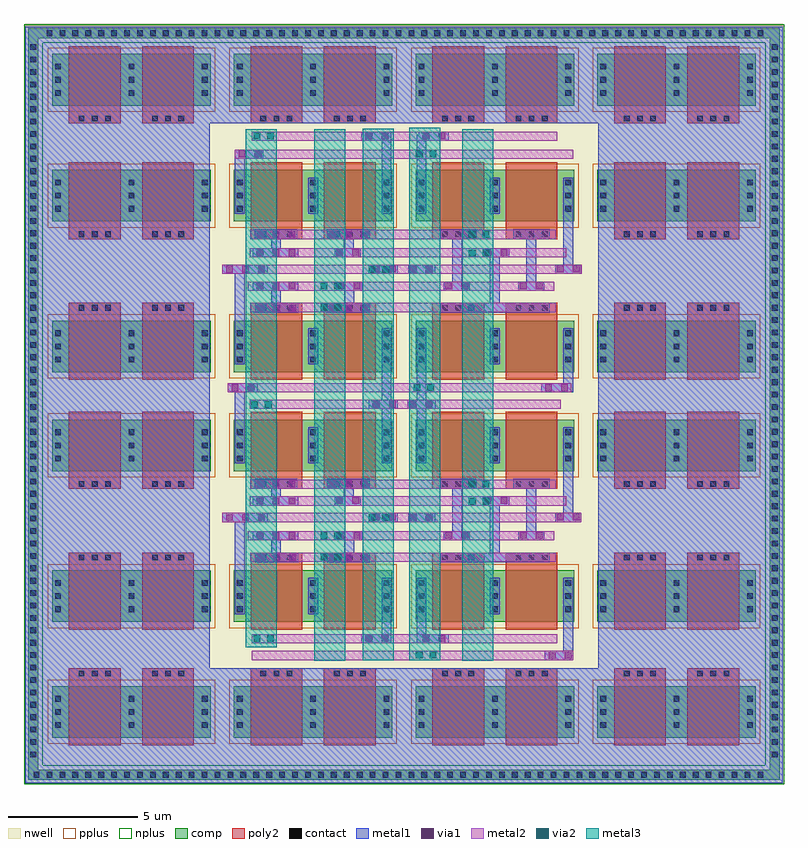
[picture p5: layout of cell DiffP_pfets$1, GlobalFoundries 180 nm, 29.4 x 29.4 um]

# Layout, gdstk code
import gdstk
lib = gdstk.Library(unit=1e-6, precision=1e-09)
def R(c, l, rs):  # rectangles x0, y0, x1, y1
    for r in rs: c.add(gdstk.rectangle(r[:2], r[2:], *l))
def A(c, l, x, y, w, h, nx, ny, dx, dy):  # array of equal rectangles
    R(c, l, [(x+i*dx, y+j*dy, x+i*dx+w, y+j*dy+h) for i in range(nx) for j in range(ny)])
nwell = (21, 0)
comp = (22, 0)
poly2 = (30, 0)
pplus = (31, 0)
nplus = (32, 0)
contact = (33, 0)
metal1 = (34, 0)
via1 = (35, 0)
metal2 = (36, 0)
via2 = (38, 0)
metal3 = (42, 0)

pfet_1 = lib.new_cell('pfet$1')
R(pfet_1, nwell, [(-0.9,-0.44,3.28,2.44)])
R(pfet_1, comp, [(-0.46,0,0,2), (0,0,2.38,2), (2.38,0,2.84,2)])
R(pfet_1, poly2, [(0.19,-0.3,2.19,2.3), (0.19,2.3,2.19,2.68)])
R(pfet_1, pplus, [(-0.63,-0.24,3.01,2.24)])
A(pfet_1, contact, -0.34, 0.38, 0.22, 0.22, 1, 3, 0, 0.51)
A(pfet_1, contact, 2.5, 0.38, 0.22, 0.22, 1, 3, 0, 0.51)
A(pfet_1, contact, 0.57, 2.38, 0.22, 0.22, 3, 1, 0.51, 0)
R(pfet_1, metal1, [(-0.42,0.3,-0.04,1.7), (2.42,0.3,2.8,1.7), (0.49,2.3,1.89,2.68)])

diffp_pfets_1 = lib.new_cell('DiffP_pfets$1')
R(diffp_pfets_1, nwell, [(-8.535,-6.23,20.775,23.085)])
R(diffp_pfets_1, comp, [(-8.415,-6.1,20.645,-5.72), (20.265,-5.8,20.645,22.96), (-8.415,-5.735,-8.035,22.96), (-8.295,22.58,20.395,22.96)])
R(diffp_pfets_1, nplus, [(-8.585,-6.27,20.815,-5.55), (-8.585,-5.645,-7.865,23.13), (20.095,-5.645,20.815,23.13), (-8.465,22.41,20.565,23.13)])
A(diffp_pfets_1, contact, -8.21, -6.02, 0.22, 0.22, 57, 1, 0.5, 0)
A(diffp_pfets_1, contact, -8.335, -5.235, 0.22, 0.22, 1, 58, 0, 0.48)
A(diffp_pfets_1, contact, 20.345, -5.235, 0.22, 0.22, 1, 58, 0, 0.48)
A(diffp_pfets_1, contact, -7.71, 22.66, 0.22, 0.22, 56, 1, 0.5, 0)
R(diffp_pfets_1, metal1, [(-8.53,-6.235,-1.4,23.03), (-1.44,-6.235,20.76,-1.8), (13.63,-6.235,20.76,23.03), (11.565,-1.475,12.66,-1.12), (12.28,-1.335,12.66,0.81), (4.47,-0.825,5.63,-0.47), (6.6,-0.825,6.98,0.935), (6.68,-0.825,7.85,-0.47), (5.25,-0.81,5.63,1.335), (-0.43,1.69,-0.05,4.015), (0.37,2.3,2.02,2.68), (0.97,2.3,1.35,3.395), (3.145,2.3,4.795,2.68), (3.805,2.3,4.185,3.505), (8.805,2.3,10.715,2.68), (9.44,2.335,9.82,4.6), (0.255,3.15,2.02,3.505), (3.485,3.15,4.495,3.505), (3.485,3.15,4.495,3.505), (3.485,3.15,4.495,3.505), (7.655,3.15,8.665,3.505), (7.655,3.15,8.665,3.505), (7.655,3.15,8.665,3.505), (10.54,3.15,11.55,3.505), (10.54,3.15,11.55,3.505), (10.54,3.15,11.55,3.505), (7.985,3.365,8.365,5.505), (10.845,3.45,11.225,5.51), (-0.925,3.86,0.84,4.215), (4.86,3.86,5.87,4.215), (4.86,3.86,5.87,4.215), (4.86,3.86,5.87,4.215), (6.27,3.86,7.33,4.215), (11.97,3.86,12.98,4.215), (11.97,3.86,12.98,4.215), (11.97,3.86,12.98,4.215), (12.28,4.08,12.66,6.405), (0.255,4.5,2.02,4.855), (3.435,4.5,4.445,4.855), (3.435,4.5,4.445,4.855), (3.435,4.5,4.445,4.855), (9.17,4.5,10.18,4.855), (9.17,4.5,10.18,4.855), (9.17,4.5,10.18,4.855), (0.97,4.52,1.35,5.5), (3.79,4.565,4.17,5.5), (0.34,5.15,1.99,5.53), (3.145,5.15,4.795,5.53), (-0.43,7.51,-0.05,9.165), (5.25,7.525,5.63,8.56), (6.6,7.525,6.98,10.05), (4.76,8.24,5.875,8.595), (6.26,8.24,7.345,8.595), (5.25,8.535,5.63,10.08), (-0.705,8.88,0.465,9.235), (11.415,8.88,12.585,9.235), (12.28,8.88,12.66,10.085), (-0.43,11.35,-0.05,13.675), (0.37,11.96,2.02,12.34), (0.97,11.96,1.35,13.055), (3.145,11.96,4.795,12.34), (3.805,11.96,4.185,13.165), (8.805,11.96,10.715,12.34), (9.44,11.995,9.82,14.135), (0.255,12.81,2.02,13.165), (3.485,12.81,4.495,13.165), (3.485,12.81,4.495,13.165), (3.485,12.81,4.495,13.165), (7.655,12.81,8.665,13.165), (7.655,12.81,8.665,13.165), (7.655,12.81,8.665,13.165), (10.54,12.81,11.55,13.165), (10.54,12.81,11.55,13.165), (10.54,12.81,11.55,13.165), (7.985,13.025,8.365,15.165), (10.845,13.11,11.225,15.17), (-0.925,13.46,0.84,13.815), (4.86,13.46,5.87,13.815), (4.86,13.46,5.87,13.815), (4.86,13.46,5.87,13.815), (6.27,13.46,7.33,13.815), (11.97,13.46,12.98,13.815), (11.97,13.46,12.98,13.815), (11.97,13.46,12.98,13.815), (12.28,13.66,12.66,15.985), (0.255,14.105,2.02,14.46), (3.435,14.105,4.445,14.46), (3.435,14.105,4.445,14.46), (3.435,14.105,4.445,14.46), (9.17,14.105,10.18,14.46), (9.17,14.105,10.18,14.46), (9.17,14.105,10.18,14.46), (0.97,14.125,1.35,15.16), (3.79,14.2,4.17,15.16), (0.34,14.81,1.99,15.19), (3.145,14.81,4.795,15.19), (6.6,16.84,6.98,18.85), (5.25,16.855,5.63,18.85), (-0.43,17.085,-0.05,18.215), (-0.43,17.92,0.665,18.275), (4.47,18.615,5.63,18.97), (6.68,18.615,7.85,18.97), (-1.44,19.29,20.76,23.03)])
R(diffp_pfets_1, via1, [(11.72,-1.425,11.98,-1.165), (11.72,-1.425,11.98,-1.165), (11.72,-1.425,11.98,-1.165), (11.72,-1.425,11.98,-1.165), (11.72,-1.425,11.98,-1.165), (11.72,-1.425,11.98,-1.165), (11.72,-1.425,11.98,-1.165), (11.72,-1.425,11.98,-1.165), (12.34,-1.425,12.6,-1.165), (12.34,-1.425,12.6,-1.165), (12.34,-1.425,12.6,-1.165), (12.34,-1.425,12.6,-1.165), (12.34,-1.425,12.6,-1.165), (12.34,-1.425,12.6,-1.165), (12.34,-1.425,12.6,-1.165), (12.34,-1.425,12.6,-1.165), (4.625,-0.775,4.885,-0.515), (4.625,-0.775,4.885,-0.515), (4.625,-0.775,4.885,-0.515), (4.625,-0.775,4.885,-0.515), (4.625,-0.775,4.885,-0.515), (4.625,-0.775,4.885,-0.515), (4.625,-0.775,4.885,-0.515), (4.625,-0.775,4.885,-0.515), (5.245,-0.775,5.505,-0.515), (5.245,-0.775,5.505,-0.515), (5.245,-0.775,5.505,-0.515), (5.245,-0.775,5.505,-0.515), (5.245,-0.775,5.505,-0.515), (5.245,-0.775,5.505,-0.515), (5.245,-0.775,5.505,-0.515), (5.245,-0.775,5.505,-0.515), (6.835,-0.775,7.095,-0.515), (6.835,-0.775,7.095,-0.515), (6.835,-0.775,7.095,-0.515), (6.835,-0.775,7.095,-0.515), (6.835,-0.775,7.095,-0.515), (6.835,-0.775,7.095,-0.515), (6.835,-0.775,7.095,-0.515), (6.835,-0.775,7.095,-0.515), (7.455,-0.775,7.715,-0.515), (7.455,-0.775,7.715,-0.515), (7.455,-0.775,7.715,-0.515), (7.455,-0.775,7.715,-0.515), (7.455,-0.775,7.715,-0.515), (7.455,-0.775,7.715,-0.515), (7.455,-0.775,7.715,-0.515), (7.455,-0.775,7.715,-0.515), (0.44,2.35,0.7,2.61), (0.44,2.35,0.7,2.61), (0.44,2.35,0.7,2.61), (0.44,2.35,0.7,2.61), (0.44,2.35,0.7,2.61), (0.44,2.35,0.7,2.61), (0.44,2.35,0.7,2.61), (0.44,2.35,0.7,2.61), (1.06,2.35,1.32,2.61), (1.06,2.35,1.32,2.61), (1.06,2.35,1.32,2.61), (1.06,2.35,1.32,2.61), (1.06,2.35,1.32,2.61), (1.06,2.35,1.32,2.61), (1.06,2.35,1.32,2.61), (1.06,2.35,1.32,2.61), (1.68,2.35,1.94,2.61), (1.68,2.35,1.94,2.61), (1.68,2.35,1.94,2.61), (1.68,2.35,1.94,2.61), (1.68,2.35,1.94,2.61), (1.68,2.35,1.94,2.61), (1.68,2.35,1.94,2.61), (1.68,2.35,1.94,2.61), (3.215,2.35,3.475,2.61), (3.215,2.35,3.475,2.61), (3.215,2.35,3.475,2.61), (3.215,2.35,3.475,2.61), (3.215,2.35,3.475,2.61), (3.215,2.35,3.475,2.61), (3.215,2.35,3.475,2.61), (3.215,2.35,3.475,2.61), (3.835,2.35,4.095,2.61), (3.835,2.35,4.095,2.61), (3.835,2.35,4.095,2.61), (3.835,2.35,4.095,2.61), (3.835,2.35,4.095,2.61), (3.835,2.35,4.095,2.61), (3.835,2.35,4.095,2.61), (3.835,2.35,4.095,2.61), (4.455,2.35,4.715,2.61), (4.455,2.35,4.715,2.61), (4.455,2.35,4.715,2.61), (4.455,2.35,4.715,2.61), (4.455,2.35,4.715,2.61), (4.455,2.35,4.715,2.61), (4.455,2.35,4.715,2.61), (4.455,2.35,4.715,2.61), (0.41,3.2,0.67,3.46), (0.41,3.2,0.67,3.46), (0.41,3.2,0.67,3.46), (0.41,3.2,0.67,3.46), (0.41,3.2,0.67,3.46), (0.41,3.2,0.67,3.46), (0.41,3.2,0.67,3.46), (0.41,3.2,0.67,3.46), (1.03,3.2,1.29,3.46), (1.03,3.2,1.29,3.46), (1.03,3.2,1.29,3.46), (1.03,3.2,1.29,3.46), (1.03,3.2,1.29,3.46), (1.03,3.2,1.29,3.46), (1.03,3.2,1.29,3.46), (1.03,3.2,1.29,3.46), (1.65,3.2,1.91,3.46), (1.65,3.2,1.91,3.46), (1.65,3.2,1.91,3.46), (1.65,3.2,1.91,3.46), (1.65,3.2,1.91,3.46), (1.65,3.2,1.91,3.46), (1.65,3.2,1.91,3.46), (1.65,3.2,1.91,3.46), (3.545,3.215,3.805,3.475), (4.165,3.215,4.425,3.475), (7.715,3.215,7.975,3.475), (8.335,3.215,8.595,3.475), (10.6,3.215,10.86,3.475), (11.22,3.215,11.48,3.475), (-0.77,3.91,-0.51,4.17), (-0.77,3.91,-0.51,4.17), (-0.77,3.91,-0.51,4.17), (-0.77,3.91,-0.51,4.17), (-0.77,3.91,-0.51,4.17), (-0.77,3.91,-0.51,4.17), (-0.77,3.91,-0.51,4.17), (-0.77,3.91,-0.51,4.17), (-0.15,3.91,0.11,4.17), (-0.15,3.91,0.11,4.17), (-0.15,3.91,0.11,4.17), (-0.15,3.91,0.11,4.17), (-0.15,3.91,0.11,4.17), (-0.15,3.91,0.11,4.17), (-0.15,3.91,0.11,4.17), (-0.15,3.91,0.11,4.17), (0.47,3.91,0.73,4.17), (0.47,3.91,0.73,4.17), (0.47,3.91,0.73,4.17), (0.47,3.91,0.73,4.17), (0.47,3.91,0.73,4.17), (0.47,3.91,0.73,4.17), (0.47,3.91,0.73,4.17), (0.47,3.91,0.73,4.17), (6.34,3.91,6.6,4.17), (6.34,3.91,6.6,4.17), (6.34,3.91,6.6,4.17), (6.34,3.91,6.6,4.17), (6.34,3.91,6.6,4.17), (6.34,3.91,6.6,4.17), (6.34,3.91,6.6,4.17), (6.34,3.91,6.6,4.17), (6.96,3.91,7.22,4.17), (6.96,3.91,7.22,4.17), (6.96,3.91,7.22,4.17), (6.96,3.91,7.22,4.17), (6.96,3.91,7.22,4.17), (6.96,3.91,7.22,4.17), (6.96,3.91,7.22,4.17), (6.96,3.91,7.22,4.17), (4.92,3.925,5.18,4.185), (4.92,3.925,5.18,4.185), (5.54,3.925,5.8,4.185), (5.54,3.925,5.8,4.185), (12.03,3.925,12.29,4.185), (12.03,3.925,12.29,4.185), (12.65,3.925,12.91,4.185), (12.65,3.925,12.91,4.185), (0.41,4.55,0.67,4.81), (0.41,4.55,0.67,4.81), (0.41,4.55,0.67,4.81), (0.41,4.55,0.67,4.81), (0.41,4.55,0.67,4.81), (0.41,4.55,0.67,4.81), (0.41,4.55,0.67,4.81), (0.41,4.55,0.67,4.81), (1.03,4.55,1.29,4.81), (1.03,4.55,1.29,4.81), (1.03,4.55,1.29,4.81), (1.03,4.55,1.29,4.81), (1.03,4.55,1.29,4.81), (1.03,4.55,1.29,4.81), (1.03,4.55,1.29,4.81), (1.03,4.55,1.29,4.81), (1.65,4.55,1.91,4.81), (1.65,4.55,1.91,4.81), (1.65,4.55,1.91,4.81), (1.65,4.55,1.91,4.81), (1.65,4.55,1.91,4.81), (1.65,4.55,1.91,4.81), (1.65,4.55,1.91,4.81), (1.65,4.55,1.91,4.81), (3.495,4.565,3.755,4.825), (4.115,4.565,4.375,4.825), (9.23,4.565,9.49,4.825), (9.85,4.565,10.11,4.825), (0.41,5.2,0.67,5.46), (0.41,5.2,0.67,5.46), (0.41,5.2,0.67,5.46), (0.41,5.2,0.67,5.46), (0.41,5.2,0.67,5.46), (0.41,5.2,0.67,5.46), (0.41,5.2,0.67,5.46), (0.41,5.2,0.67,5.46), (1.03,5.2,1.29,5.46), (1.03,5.2,1.29,5.46), (1.03,5.2,1.29,5.46), (1.03,5.2,1.29,5.46), (1.03,5.2,1.29,5.46), (1.03,5.2,1.29,5.46), (1.03,5.2,1.29,5.46), (1.03,5.2,1.29,5.46), (1.65,5.2,1.91,5.46), (1.65,5.2,1.91,5.46), (1.65,5.2,1.91,5.46), (1.65,5.2,1.91,5.46), (1.65,5.2,1.91,5.46), (1.65,5.2,1.91,5.46), (1.65,5.2,1.91,5.46), (1.65,5.2,1.91,5.46), (3.215,5.2,3.475,5.46), (3.215,5.2,3.475,5.46), (3.215,5.2,3.475,5.46), (3.215,5.2,3.475,5.46), (3.215,5.2,3.475,5.46), (3.215,5.2,3.475,5.46), (3.215,5.2,3.475,5.46), (3.215,5.2,3.475,5.46), (3.835,5.2,4.095,5.46), (3.835,5.2,4.095,5.46), (3.835,5.2,4.095,5.46), (3.835,5.2,4.095,5.46), (3.835,5.2,4.095,5.46), (3.835,5.2,4.095,5.46), (3.835,5.2,4.095,5.46), (3.835,5.2,4.095,5.46), (4.455,5.2,4.715,5.46), (4.455,5.2,4.715,5.46), (4.455,5.2,4.715,5.46), (4.455,5.2,4.715,5.46), (4.455,5.2,4.715,5.46), (4.455,5.2,4.715,5.46), (4.455,5.2,4.715,5.46), (4.455,5.2,4.715,5.46), (4.915,8.29,5.175,8.55), (4.915,8.29,5.175,8.55), (4.915,8.29,5.175,8.55), (4.915,8.29,5.175,8.55), (4.915,8.29,5.175,8.55), (4.915,8.29,5.175,8.55), (4.915,8.29,5.175,8.55), (4.915,8.29,5.175,8.55), (5.535,8.29,5.795,8.55), (5.535,8.29,5.795,8.55), (5.535,8.29,5.795,8.55), (5.535,8.29,5.795,8.55), (5.535,8.29,5.795,8.55), (5.535,8.29,5.795,8.55), (5.535,8.29,5.795,8.55), (5.535,8.29,5.795,8.55), (6.33,8.29,6.59,8.55), (6.33,8.29,6.59,8.55), (6.33,8.29,6.59,8.55), (6.33,8.29,6.59,8.55), (6.33,8.29,6.59,8.55), (6.33,8.29,6.59,8.55), (6.33,8.29,6.59,8.55), (6.33,8.29,6.59,8.55), (6.95,8.29,7.21,8.55), (6.95,8.29,7.21,8.55), (6.95,8.29,7.21,8.55), (6.95,8.29,7.21,8.55), (6.95,8.29,7.21,8.55), (6.95,8.29,7.21,8.55), (6.95,8.29,7.21,8.55), (6.95,8.29,7.21,8.55), (-0.55,8.93,-0.29,9.19), (-0.55,8.93,-0.29,9.19), (-0.55,8.93,-0.29,9.19), (-0.55,8.93,-0.29,9.19), (-0.55,8.93,-0.29,9.19), (-0.55,8.93,-0.29,9.19), (-0.55,8.93,-0.29,9.19), (-0.55,8.93,-0.29,9.19), (0.07,8.93,0.33,9.19), (0.07,8.93,0.33,9.19), (0.07,8.93,0.33,9.19), (0.07,8.93,0.33,9.19), (0.07,8.93,0.33,9.19), (0.07,8.93,0.33,9.19), (0.07,8.93,0.33,9.19), (0.07,8.93,0.33,9.19), (11.57,8.93,11.83,9.19), (11.57,8.93,11.83,9.19), (11.57,8.93,11.83,9.19), (11.57,8.93,11.83,9.19), (11.57,8.93,11.83,9.19), (11.57,8.93,11.83,9.19), (11.57,8.93,11.83,9.19), (11.57,8.93,11.83,9.19), (12.19,8.93,12.45,9.19), (12.19,8.93,12.45,9.19), (12.19,8.93,12.45,9.19), (12.19,8.93,12.45,9.19), (12.19,8.93,12.45,9.19), (12.19,8.93,12.45,9.19), (12.19,8.93,12.45,9.19), (12.19,8.93,12.45,9.19), (0.44,12.01,0.7,12.27), (0.44,12.01,0.7,12.27), (0.44,12.01,0.7,12.27), (0.44,12.01,0.7,12.27), (0.44,12.01,0.7,12.27), (0.44,12.01,0.7,12.27), (0.44,12.01,0.7,12.27), (0.44,12.01,0.7,12.27), (1.06,12.01,1.32,12.27), (1.06,12.01,1.32,12.27), (1.06,12.01,1.32,12.27), (1.06,12.01,1.32,12.27), (1.06,12.01,1.32,12.27), (1.06,12.01,1.32,12.27), (1.06,12.01,1.32,12.27), (1.06,12.01,1.32,12.27), (1.68,12.01,1.94,12.27), (1.68,12.01,1.94,12.27), (1.68,12.01,1.94,12.27), (1.68,12.01,1.94,12.27), (1.68,12.01,1.94,12.27), (1.68,12.01,1.94,12.27), (1.68,12.01,1.94,12.27), (1.68,12.01,1.94,12.27), (3.215,12.01,3.475,12.27), (3.215,12.01,3.475,12.27), (3.215,12.01,3.475,12.27), (3.215,12.01,3.475,12.27), (3.215,12.01,3.475,12.27), (3.215,12.01,3.475,12.27), (3.215,12.01,3.475,12.27), (3.215,12.01,3.475,12.27), (3.835,12.01,4.095,12.27), (3.835,12.01,4.095,12.27), (3.835,12.01,4.095,12.27), (3.835,12.01,4.095,12.27), (3.835,12.01,4.095,12.27), (3.835,12.01,4.095,12.27), (3.835,12.01,4.095,12.27), (3.835,12.01,4.095,12.27), (4.455,12.01,4.715,12.27), (4.455,12.01,4.715,12.27), (4.455,12.01,4.715,12.27), (4.455,12.01,4.715,12.27), (4.455,12.01,4.715,12.27), (4.455,12.01,4.715,12.27), (4.455,12.01,4.715,12.27), (4.455,12.01,4.715,12.27), (0.41,12.86,0.67,13.12), (0.41,12.86,0.67,13.12), (0.41,12.86,0.67,13.12), (0.41,12.86,0.67,13.12), (0.41,12.86,0.67,13.12), (0.41,12.86,0.67,13.12), (0.41,12.86,0.67,13.12), (0.41,12.86,0.67,13.12), (1.03,12.86,1.29,13.12), (1.03,12.86,1.29,13.12), (1.03,12.86,1.29,13.12), (1.03,12.86,1.29,13.12), (1.03,12.86,1.29,13.12), (1.03,12.86,1.29,13.12), (1.03,12.86,1.29,13.12), (1.03,12.86,1.29,13.12), (1.65,12.86,1.91,13.12), (1.65,12.86,1.91,13.12), (1.65,12.86,1.91,13.12), (1.65,12.86,1.91,13.12), (1.65,12.86,1.91,13.12), (1.65,12.86,1.91,13.12), (1.65,12.86,1.91,13.12), (1.65,12.86,1.91,13.12), (3.545,12.875,3.805,13.135), (4.165,12.875,4.425,13.135), (7.715,12.875,7.975,13.135), (8.335,12.875,8.595,13.135), (10.6,12.875,10.86,13.135), (11.22,12.875,11.48,13.135), (-0.77,13.51,-0.51,13.77), (-0.77,13.51,-0.51,13.77), (-0.77,13.51,-0.51,13.77), (-0.77,13.51,-0.51,13.77), (-0.77,13.51,-0.51,13.77), (-0.77,13.51,-0.51,13.77), (-0.77,13.51,-0.51,13.77), (-0.77,13.51,-0.51,13.77), (-0.15,13.51,0.11,13.77), (-0.15,13.51,0.11,13.77), (-0.15,13.51,0.11,13.77), (-0.15,13.51,0.11,13.77), (-0.15,13.51,0.11,13.77), (-0.15,13.51,0.11,13.77), (-0.15,13.51,0.11,13.77), (-0.15,13.51,0.11,13.77), (0.47,13.51,0.73,13.77), (0.47,13.51,0.73,13.77), (0.47,13.51,0.73,13.77), (0.47,13.51,0.73,13.77), (0.47,13.51,0.73,13.77), (0.47,13.51,0.73,13.77), (0.47,13.51,0.73,13.77), (0.47,13.51,0.73,13.77), (6.34,13.51,6.6,13.77), (6.34,13.51,6.6,13.77), (6.34,13.51,6.6,13.77), (6.34,13.51,6.6,13.77), (6.34,13.51,6.6,13.77), (6.34,13.51,6.6,13.77), (6.34,13.51,6.6,13.77), (6.34,13.51,6.6,13.77), (6.96,13.51,7.22,13.77), (6.96,13.51,7.22,13.77), (6.96,13.51,7.22,13.77), (6.96,13.51,7.22,13.77), (6.96,13.51,7.22,13.77), (6.96,13.51,7.22,13.77), (6.96,13.51,7.22,13.77), (6.96,13.51,7.22,13.77), (4.92,13.525,5.18,13.785), (4.92,13.525,5.18,13.785), (5.54,13.525,5.8,13.785), (5.54,13.525,5.8,13.785), (12.03,13.525,12.29,13.785), (12.03,13.525,12.29,13.785), (12.65,13.525,12.91,13.785), (12.65,13.525,12.91,13.785), (0.41,14.155,0.67,14.415), (0.41,14.155,0.67,14.415), (0.41,14.155,0.67,14.415), (0.41,14.155,0.67,14.415), (0.41,14.155,0.67,14.415), (0.41,14.155,0.67,14.415), (0.41,14.155,0.67,14.415), (0.41,14.155,0.67,14.415), (1.03,14.155,1.29,14.415), (1.03,14.155,1.29,14.415), (1.03,14.155,1.29,14.415), (1.03,14.155,1.29,14.415), (1.03,14.155,1.29,14.415), (1.03,14.155,1.29,14.415), (1.03,14.155,1.29,14.415), (1.03,14.155,1.29,14.415), (1.65,14.155,1.91,14.415), (1.65,14.155,1.91,14.415), (1.65,14.155,1.91,14.415), (1.65,14.155,1.91,14.415), (1.65,14.155,1.91,14.415), (1.65,14.155,1.91,14.415), (1.65,14.155,1.91,14.415), (1.65,14.155,1.91,14.415), (3.495,14.17,3.755,14.43), (4.115,14.17,4.375,14.43), (9.23,14.17,9.49,14.43), (9.85,14.17,10.11,14.43), (0.41,14.86,0.67,15.12), (0.41,14.86,0.67,15.12), (0.41,14.86,0.67,15.12), (0.41,14.86,0.67,15.12), (0.41,14.86,0.67,15.12), (0.41,14.86,0.67,15.12), (0.41,14.86,0.67,15.12), (0.41,14.86,0.67,15.12), (1.03,14.86,1.29,15.12), (1.03,14.86,1.29,15.12), (1.03,14.86,1.29,15.12), (1.03,14.86,1.29,15.12), (1.03,14.86,1.29,15.12), (1.03,14.86,1.29,15.12), (1.03,14.86,1.29,15.12), (1.03,14.86,1.29,15.12), (1.65,14.86,1.91,15.12), (1.65,14.86,1.91,15.12), (1.65,14.86,1.91,15.12), (1.65,14.86,1.91,15.12), (1.65,14.86,1.91,15.12), (1.65,14.86,1.91,15.12), (1.65,14.86,1.91,15.12), (1.65,14.86,1.91,15.12), (3.215,14.86,3.475,15.12), (3.215,14.86,3.475,15.12), (3.215,14.86,3.475,15.12), (3.215,14.86,3.475,15.12), (3.215,14.86,3.475,15.12), (3.215,14.86,3.475,15.12), (3.215,14.86,3.475,15.12), (3.215,14.86,3.475,15.12), (3.835,14.86,4.095,15.12), (3.835,14.86,4.095,15.12), (3.835,14.86,4.095,15.12), (3.835,14.86,4.095,15.12), (3.835,14.86,4.095,15.12), (3.835,14.86,4.095,15.12), (3.835,14.86,4.095,15.12), (3.835,14.86,4.095,15.12), (4.455,14.86,4.715,15.12), (4.455,14.86,4.715,15.12), (4.455,14.86,4.715,15.12), (4.455,14.86,4.715,15.12), (4.455,14.86,4.715,15.12), (4.455,14.86,4.715,15.12), (4.455,14.86,4.715,15.12), (4.455,14.86,4.715,15.12), (-0.275,17.97,-0.015,18.23), (-0.275,17.97,-0.015,18.23), (-0.275,17.97,-0.015,18.23), (-0.275,17.97,-0.015,18.23), (-0.275,17.97,-0.015,18.23), (-0.275,17.97,-0.015,18.23), (-0.275,17.97,-0.015,18.23), (-0.275,17.97,-0.015,18.23), (0.345,17.97,0.605,18.23), (0.345,17.97,0.605,18.23), (0.345,17.97,0.605,18.23), (0.345,17.97,0.605,18.23), (0.345,17.97,0.605,18.23), (0.345,17.97,0.605,18.23), (0.345,17.97,0.605,18.23), (0.345,17.97,0.605,18.23), (4.625,18.665,4.885,18.925), (4.625,18.665,4.885,18.925), (4.625,18.665,4.885,18.925), (4.625,18.665,4.885,18.925), (4.625,18.665,4.885,18.925), (4.625,18.665,4.885,18.925), (4.625,18.665,4.885,18.925), (4.625,18.665,4.885,18.925), (5.245,18.665,5.505,18.925), (5.245,18.665,5.505,18.925), (5.245,18.665,5.505,18.925), (5.245,18.665,5.505,18.925), (5.245,18.665,5.505,18.925), (5.245,18.665,5.505,18.925), (5.245,18.665,5.505,18.925), (5.245,18.665,5.505,18.925), (6.835,18.665,7.095,18.925), (6.835,18.665,7.095,18.925), (6.835,18.665,7.095,18.925), (6.835,18.665,7.095,18.925), (6.835,18.665,7.095,18.925), (6.835,18.665,7.095,18.925), (6.835,18.665,7.095,18.925), (6.835,18.665,7.095,18.925), (7.455,18.665,7.715,18.925), (7.455,18.665,7.715,18.925), (7.455,18.665,7.715,18.925), (7.455,18.665,7.715,18.925), (7.455,18.665,7.715,18.925), (7.455,18.665,7.715,18.925), (7.455,18.665,7.715,18.925), (7.455,18.665,7.715,18.925)])
R(diffp_pfets_1, metal2, [(0.23,-1.475,12.67,-1.12), (0.23,-0.825,12.04,-0.47), (0.16,2.325,11.98,2.68), (0.08,3.15,11.93,3.505), (-0.925,3.86,12.98,4.215), (0.14,3.86,12.385,4.215), (0.14,4.5,12.385,4.855), (0.16,5.15,11.98,5.505), (0.14,8.24,12.175,8.595), (-0.705,8.88,12.585,9.235), (0.16,11.985,11.98,12.34), (0.08,12.81,11.93,13.165), (-0.925,13.46,12.995,13.815), (0.14,14.105,12.385,14.46), (0.16,14.81,11.98,15.165), (-0.43,17.92,12.67,18.275), (0.23,18.615,12.04,18.97)])
R(diffp_pfets_1, via2, [(6.575,-1.41,6.835,-1.15), (6.575,-1.41,6.835,-1.15), (6.575,-1.41,6.835,-1.15), (6.575,-1.41,6.835,-1.15), (6.575,-1.41,6.835,-1.15), (6.575,-1.41,6.835,-1.15), (6.575,-1.41,6.835,-1.15), (6.575,-1.41,6.835,-1.15), (7.105,-1.41,7.365,-1.15), (7.105,-1.41,7.365,-1.15), (7.105,-1.41,7.365,-1.15), (7.105,-1.41,7.365,-1.15), (7.105,-1.41,7.365,-1.15), (7.105,-1.41,7.365,-1.15), (7.105,-1.41,7.365,-1.15), (7.105,-1.41,7.365,-1.15), (0.295,-0.77,0.555,-0.51), (0.295,-0.77,0.555,-0.51), (0.295,-0.77,0.555,-0.51), (0.295,-0.77,0.555,-0.51), (0.295,-0.77,0.555,-0.51), (0.295,-0.77,0.555,-0.51), (0.295,-0.77,0.555,-0.51), (0.295,-0.77,0.555,-0.51), (0.825,-0.77,1.085,-0.51), (0.825,-0.77,1.085,-0.51), (0.825,-0.77,1.085,-0.51), (0.825,-0.77,1.085,-0.51), (0.825,-0.77,1.085,-0.51), (0.825,-0.77,1.085,-0.51), (0.825,-0.77,1.085,-0.51), (0.825,-0.77,1.085,-0.51), (2.895,2.38,3.155,2.64), (2.895,2.38,3.155,2.64), (2.895,2.38,3.155,2.64), (2.895,2.38,3.155,2.64), (2.895,2.38,3.155,2.64), (2.895,2.38,3.155,2.64), (2.895,2.38,3.155,2.64), (2.895,2.38,3.155,2.64), (3.425,2.38,3.685,2.64), (3.425,2.38,3.685,2.64), (3.425,2.38,3.685,2.64), (3.425,2.38,3.685,2.64), (3.425,2.38,3.685,2.64), (3.425,2.38,3.685,2.64), (3.425,2.38,3.685,2.64), (3.425,2.38,3.685,2.64), (2.895,3.205,3.155,3.465), (2.895,3.205,3.155,3.465), (2.895,3.205,3.155,3.465), (2.895,3.205,3.155,3.465), (2.895,3.205,3.155,3.465), (2.895,3.205,3.155,3.465), (2.895,3.205,3.155,3.465), (2.895,3.205,3.155,3.465), (3.425,3.205,3.685,3.465), (3.425,3.205,3.685,3.465), (3.425,3.205,3.685,3.465), (3.425,3.205,3.685,3.465), (3.425,3.205,3.685,3.465), (3.425,3.205,3.685,3.465), (3.425,3.205,3.685,3.465), (3.425,3.205,3.685,3.465), (4.745,3.905,5.005,4.165), (4.745,3.905,5.005,4.165), (4.745,3.905,5.005,4.165), (4.745,3.905,5.005,4.165), (4.745,3.905,5.005,4.165), (4.745,3.905,5.005,4.165), (4.745,3.905,5.005,4.165), (4.745,3.905,5.005,4.165), (5.275,3.905,5.535,4.165), (5.275,3.905,5.535,4.165), (5.275,3.905,5.535,4.165), (5.275,3.905,5.535,4.165), (5.275,3.905,5.535,4.165), (5.275,3.905,5.535,4.165), (5.275,3.905,5.535,4.165), (5.275,3.905,5.535,4.165), (8.625,4.535,8.885,4.795), (8.625,4.535,8.885,4.795), (8.625,4.535,8.885,4.795), (8.625,4.535,8.885,4.795), (8.625,4.535,8.885,4.795), (8.625,4.535,8.885,4.795), (8.625,4.535,8.885,4.795), (8.625,4.535,8.885,4.795), (9.155,4.535,9.415,4.795), (9.155,4.535,9.415,4.795), (9.155,4.535,9.415,4.795), (9.155,4.535,9.415,4.795), (9.155,4.535,9.415,4.795), (9.155,4.535,9.415,4.795), (9.155,4.535,9.415,4.795), (9.155,4.535,9.415,4.795), (8.625,5.205,8.885,5.465), (8.625,5.205,8.885,5.465), (8.625,5.205,8.885,5.465), (8.625,5.205,8.885,5.465), (8.625,5.205,8.885,5.465), (8.625,5.205,8.885,5.465), (8.625,5.205,8.885,5.465), (8.625,5.205,8.885,5.465), (9.155,5.205,9.415,5.465), (9.155,5.205,9.415,5.465), (9.155,5.205,9.415,5.465), (9.155,5.205,9.415,5.465), (9.155,5.205,9.415,5.465), (9.155,5.205,9.415,5.465), (9.155,5.205,9.415,5.465), (9.155,5.205,9.415,5.465), (0.205,8.275,0.465,8.535), (0.205,8.275,0.465,8.535), (0.205,8.275,0.465,8.535), (0.205,8.275,0.465,8.535), (0.205,8.275,0.465,8.535), (0.205,8.275,0.465,8.535), (0.205,8.275,0.465,8.535), (0.205,8.275,0.465,8.535), (0.735,8.275,0.995,8.535), (0.735,8.275,0.995,8.535), (0.735,8.275,0.995,8.535), (0.735,8.275,0.995,8.535), (0.735,8.275,0.995,8.535), (0.735,8.275,0.995,8.535), (0.735,8.275,0.995,8.535), (0.735,8.275,0.995,8.535), (6.485,8.94,6.745,9.2), (6.485,8.94,6.745,9.2), (6.485,8.94,6.745,9.2), (6.485,8.94,6.745,9.2), (6.485,8.94,6.745,9.2), (6.485,8.94,6.745,9.2), (6.485,8.94,6.745,9.2), (6.485,8.94,6.745,9.2), (7.015,8.94,7.275,9.2), (7.015,8.94,7.275,9.2), (7.015,8.94,7.275,9.2), (7.015,8.94,7.275,9.2), (7.015,8.94,7.275,9.2), (7.015,8.94,7.275,9.2), (7.015,8.94,7.275,9.2), (7.015,8.94,7.275,9.2), (2.895,12.04,3.155,12.3), (2.895,12.04,3.155,12.3), (2.895,12.04,3.155,12.3), (2.895,12.04,3.155,12.3), (2.895,12.04,3.155,12.3), (2.895,12.04,3.155,12.3), (2.895,12.04,3.155,12.3), (2.895,12.04,3.155,12.3), (3.425,12.04,3.685,12.3), (3.425,12.04,3.685,12.3), (3.425,12.04,3.685,12.3), (3.425,12.04,3.685,12.3), (3.425,12.04,3.685,12.3), (3.425,12.04,3.685,12.3), (3.425,12.04,3.685,12.3), (3.425,12.04,3.685,12.3), (2.895,12.865,3.155,13.125), (2.895,12.865,3.155,13.125), (2.895,12.865,3.155,13.125), (2.895,12.865,3.155,13.125), (2.895,12.865,3.155,13.125), (2.895,12.865,3.155,13.125), (2.895,12.865,3.155,13.125), (2.895,12.865,3.155,13.125), (3.425,12.865,3.685,13.125), (3.425,12.865,3.685,13.125), (3.425,12.865,3.685,13.125), (3.425,12.865,3.685,13.125), (3.425,12.865,3.685,13.125), (3.425,12.865,3.685,13.125), (3.425,12.865,3.685,13.125), (3.425,12.865,3.685,13.125), (4.745,13.505,5.005,13.765), (4.745,13.505,5.005,13.765), (4.745,13.505,5.005,13.765), (4.745,13.505,5.005,13.765), (4.745,13.505,5.005,13.765), (4.745,13.505,5.005,13.765), (4.745,13.505,5.005,13.765), (4.745,13.505,5.005,13.765), (5.275,13.505,5.535,13.765), (5.275,13.505,5.535,13.765), (5.275,13.505,5.535,13.765), (5.275,13.505,5.535,13.765), (5.275,13.505,5.535,13.765), (5.275,13.505,5.535,13.765), (5.275,13.505,5.535,13.765), (5.275,13.505,5.535,13.765), (8.625,14.14,8.885,14.4), (8.625,14.14,8.885,14.4), (8.625,14.14,8.885,14.4), (8.625,14.14,8.885,14.4), (8.625,14.14,8.885,14.4), (8.625,14.14,8.885,14.4), (8.625,14.14,8.885,14.4), (8.625,14.14,8.885,14.4), (9.155,14.14,9.415,14.4), (9.155,14.14,9.415,14.4), (9.155,14.14,9.415,14.4), (9.155,14.14,9.415,14.4), (9.155,14.14,9.415,14.4), (9.155,14.14,9.415,14.4), (9.155,14.14,9.415,14.4), (9.155,14.14,9.415,14.4), (8.625,14.865,8.885,15.125), (8.625,14.865,8.885,15.125), (8.625,14.865,8.885,15.125), (8.625,14.865,8.885,15.125), (8.625,14.865,8.885,15.125), (8.625,14.865,8.885,15.125), (8.625,14.865,8.885,15.125), (8.625,14.865,8.885,15.125), (9.155,14.865,9.415,15.125), (9.155,14.865,9.415,15.125), (9.155,14.865,9.415,15.125), (9.155,14.865,9.415,15.125), (9.155,14.865,9.415,15.125), (9.155,14.865,9.415,15.125), (9.155,14.865,9.415,15.125), (9.155,14.865,9.415,15.125), (6.575,17.985,6.835,18.245), (6.575,17.985,6.835,18.245), (6.575,17.985,6.835,18.245), (6.575,17.985,6.835,18.245), (6.575,17.985,6.835,18.245), (6.575,17.985,6.835,18.245), (6.575,17.985,6.835,18.245), (6.575,17.985,6.835,18.245), (7.105,17.985,7.365,18.245), (7.105,17.985,7.365,18.245), (7.105,17.985,7.365,18.245), (7.105,17.985,7.365,18.245), (7.105,17.985,7.365,18.245), (7.105,17.985,7.365,18.245), (7.105,17.985,7.365,18.245), (7.105,17.985,7.365,18.245), (0.295,18.67,0.555,18.93), (0.295,18.67,0.555,18.93), (0.295,18.67,0.555,18.93), (0.295,18.67,0.555,18.93), (0.295,18.67,0.555,18.93), (0.295,18.67,0.555,18.93), (0.295,18.67,0.555,18.93), (0.295,18.67,0.555,18.93), (0.825,18.67,1.085,18.93), (0.825,18.67,1.085,18.93), (0.825,18.67,1.085,18.93), (0.825,18.67,1.085,18.93), (0.825,18.67,1.085,18.93), (0.825,18.67,1.085,18.93), (0.825,18.67,1.085,18.93), (0.825,18.67,1.085,18.93)])
R(diffp_pfets_1, metal3, [(2.645,-1.51,3.845,19.05), (8.375,-1.505,9.575,19.05), (4.525,-1.49,5.725,19.085), (6.31,-1.49,7.51,19.12), (-0.015,-0.985,1.185,19.065)])
diffp_pfets_1.add(gdstk.Reference(pfet_1, (-0.01,7.83), x_reflection=True))
diffp_pfets_1.add(gdstk.Reference(pfet_1, (2.83,7.83), x_reflection=True))
diffp_pfets_1.add(gdstk.Reference(pfet_1, (7.02,7.83), x_reflection=True))
diffp_pfets_1.add(gdstk.Reference(pfet_1, (9.86,7.83), x_reflection=True))
diffp_pfets_1.add(gdstk.Reference(pfet_1, (-0.01,0)))
diffp_pfets_1.add(gdstk.Reference(pfet_1, (2.83,0)))
diffp_pfets_1.add(gdstk.Reference(pfet_1, (9.86,0)))
diffp_pfets_1.add(gdstk.Reference(pfet_1, (-0.01,17.49), x_reflection=True))
diffp_pfets_1.add(gdstk.Reference(pfet_1, (2.83,17.49), x_reflection=True))
diffp_pfets_1.add(gdstk.Reference(pfet_1, (7.02,17.49), x_reflection=True))
diffp_pfets_1.add(gdstk.Reference(pfet_1, (9.86,17.49), x_reflection=True))
diffp_pfets_1.add(gdstk.Reference(pfet_1, (-0.01,9.66)))
diffp_pfets_1.add(gdstk.Reference(pfet_1, (2.83,9.66)))
diffp_pfets_1.add(gdstk.Reference(pfet_1, (7.02,9.66)))
diffp_pfets_1.add(gdstk.Reference(pfet_1, (9.86,9.66)))
diffp_pfets_1.add(gdstk.Reference(pfet_1, (7.02,0)))
diffp_pfets_1.add(gdstk.Reference(pfet_1, (-0.01,7.83), x_reflection=True))
diffp_pfets_1.add(gdstk.Reference(pfet_1, (2.83,7.83), x_reflection=True))
diffp_pfets_1.add(gdstk.Reference(pfet_1, (-0.01,0)))
diffp_pfets_1.add(gdstk.Reference(pfet_1, (-0.01,17.49), x_reflection=True))
diffp_pfets_1.add(gdstk.Reference(pfet_1, (2.83,17.49), x_reflection=True))
diffp_pfets_1.add(gdstk.Reference(pfet_1, (-0.01,9.66)))
diffp_pfets_1.add(gdstk.Reference(pfet_1, (2.83,9.66)))
diffp_pfets_1.add(gdstk.Reference(pfet_1, (-0.01,-4.48)))
diffp_pfets_1.add(gdstk.Reference(pfet_1, (2.83,-4.48)))
diffp_pfets_1.add(gdstk.Reference(pfet_1, (9.86,-4.48)))
diffp_pfets_1.add(gdstk.Reference(pfet_1, (7.02,-4.48)))
diffp_pfets_1.add(gdstk.Reference(pfet_1, (-0.01,-4.48)))
diffp_pfets_1.add(gdstk.Reference(pfet_1, (2.83,-4.48)))
diffp_pfets_1.add(gdstk.Reference(pfet_1, (-0.01,21.97), x_reflection=True))
diffp_pfets_1.add(gdstk.Reference(pfet_1, (2.83,21.97), x_reflection=True))
diffp_pfets_1.add(gdstk.Reference(pfet_1, (7.02,21.97), x_reflection=True))
diffp_pfets_1.add(gdstk.Reference(pfet_1, (9.86,21.97), x_reflection=True))
diffp_pfets_1.add(gdstk.Reference(pfet_1, (-0.01,21.97), x_reflection=True))
diffp_pfets_1.add(gdstk.Reference(pfet_1, (2.83,21.97), x_reflection=True))
diffp_pfets_1.add(gdstk.Reference(pfet_1, (-7.04,7.83), x_reflection=True))
diffp_pfets_1.add(gdstk.Reference(pfet_1, (-4.2,7.83), x_reflection=True))
diffp_pfets_1.add(gdstk.Reference(pfet_1, (-7.04,0)))
diffp_pfets_1.add(gdstk.Reference(pfet_1, (-4.2,0)))
diffp_pfets_1.add(gdstk.Reference(pfet_1, (-7.04,17.49), x_reflection=True))
diffp_pfets_1.add(gdstk.Reference(pfet_1, (-4.2,17.49), x_reflection=True))
diffp_pfets_1.add(gdstk.Reference(pfet_1, (-7.04,9.66)))
diffp_pfets_1.add(gdstk.Reference(pfet_1, (-4.2,9.66)))
diffp_pfets_1.add(gdstk.Reference(pfet_1, (-7.04,7.83), x_reflection=True))
diffp_pfets_1.add(gdstk.Reference(pfet_1, (-4.2,7.83), x_reflection=True))
diffp_pfets_1.add(gdstk.Reference(pfet_1, (-7.04,0)))
diffp_pfets_1.add(gdstk.Reference(pfet_1, (-4.2,0)))
diffp_pfets_1.add(gdstk.Reference(pfet_1, (-7.04,17.49), x_reflection=True))
diffp_pfets_1.add(gdstk.Reference(pfet_1, (-4.2,17.49), x_reflection=True))
diffp_pfets_1.add(gdstk.Reference(pfet_1, (-7.04,9.66)))
diffp_pfets_1.add(gdstk.Reference(pfet_1, (-4.2,9.66)))
diffp_pfets_1.add(gdstk.Reference(pfet_1, (-7.04,-4.48)))
diffp_pfets_1.add(gdstk.Reference(pfet_1, (-4.2,-4.48)))
diffp_pfets_1.add(gdstk.Reference(pfet_1, (-7.04,-4.48)))
diffp_pfets_1.add(gdstk.Reference(pfet_1, (-4.2,-4.48)))
diffp_pfets_1.add(gdstk.Reference(pfet_1, (-7.04,21.97), x_reflection=True))
diffp_pfets_1.add(gdstk.Reference(pfet_1, (-4.2,21.97), x_reflection=True))
diffp_pfets_1.add(gdstk.Reference(pfet_1, (-7.04,21.97), x_reflection=True))
diffp_pfets_1.add(gdstk.Reference(pfet_1, (-4.2,21.97), x_reflection=True))
diffp_pfets_1.add(gdstk.Reference(pfet_1, (14.05,7.83), x_reflection=True))
diffp_pfets_1.add(gdstk.Reference(pfet_1, (16.89,7.83), x_reflection=True))
diffp_pfets_1.add(gdstk.Reference(pfet_1, (16.89,0)))
diffp_pfets_1.add(gdstk.Reference(pfet_1, (14.05,17.49), x_reflection=True))
diffp_pfets_1.add(gdstk.Reference(pfet_1, (16.89,17.49), x_reflection=True))
diffp_pfets_1.add(gdstk.Reference(pfet_1, (14.05,9.66)))
diffp_pfets_1.add(gdstk.Reference(pfet_1, (16.89,9.66)))
diffp_pfets_1.add(gdstk.Reference(pfet_1, (14.05,0)))
diffp_pfets_1.add(gdstk.Reference(pfet_1, (16.89,-4.48)))
diffp_pfets_1.add(gdstk.Reference(pfet_1, (14.05,-4.48)))
diffp_pfets_1.add(gdstk.Reference(pfet_1, (14.05,21.97), x_reflection=True))
diffp_pfets_1.add(gdstk.Reference(pfet_1, (16.89,21.97), x_reflection=True))

lib.write_gds('DiffP_pfets_1.gds')
